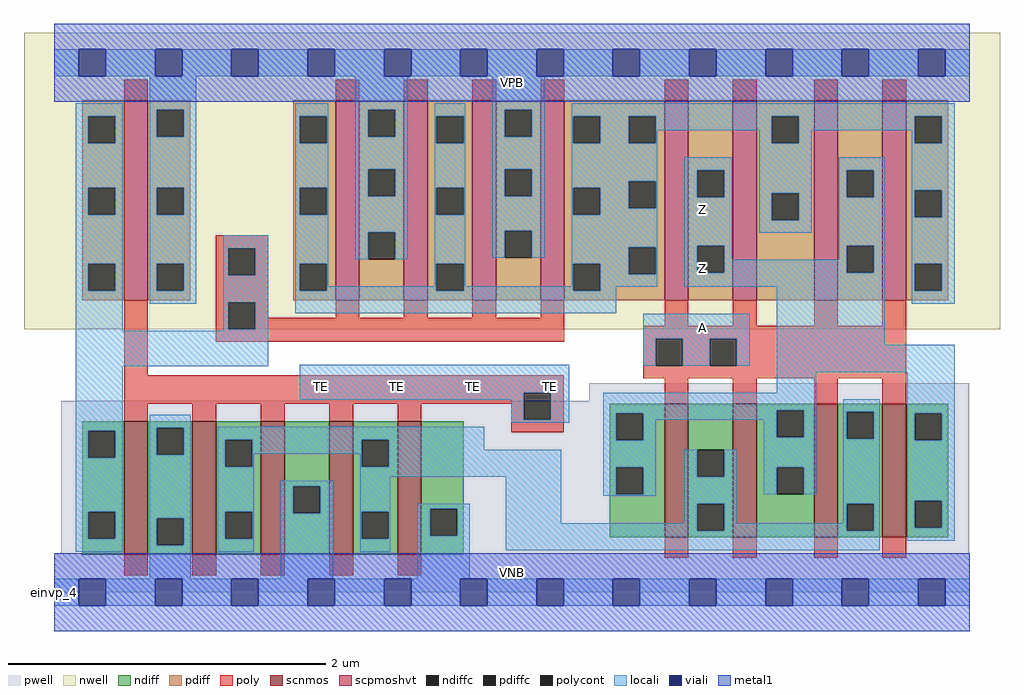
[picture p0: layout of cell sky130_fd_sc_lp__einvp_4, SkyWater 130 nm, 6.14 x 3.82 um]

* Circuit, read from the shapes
.subckt sky130_fd_sc_lp__einvp_4 A TE VGND VNB VPB VPWR Z
XM1 VGND TE n1 VNB sky130_fd_pr__nfet_01v8 w=0.84 l=0.15
XM2 n2 TE VGND VNB sky130_fd_pr__nfet_01v8 w=0.84 l=0.15 m=4
XM3 n2 A Z VNB sky130_fd_pr__nfet_01v8 w=0.84 l=0.15 m=4
XM4 VPWR TE n1 VPB sky130_fd_pr__pfet_01v8_hvt w=1.26 l=0.15
XM5 VPWR n1 n3 VPB sky130_fd_pr__pfet_01v8_hvt w=1.26 l=0.15 m=4
XM6 Z A n3 VPB sky130_fd_pr__pfet_01v8_hvt w=1.26 l=0.15 m=4
.ends

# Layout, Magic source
magic
tech sky130A
magscale 1 2
<< nwell >>
rect -38 331 1190 704
<< pwell >>
rect 673 241 1151 263
rect 9 49 1151 241
rect 0 0 1152 49
<< scnmos >>
rect 88 47 118 215
rect 174 47 204 215
rect 260 47 290 215
rect 346 47 376 215
rect 432 47 462 215
rect 768 69 798 237
rect 854 69 884 237
rect 956 69 986 237
rect 1042 69 1072 237
<< scpmoshvt >>
rect 88 367 118 619
rect 354 367 384 619
rect 440 367 470 619
rect 526 367 556 619
rect 612 367 642 619
rect 768 367 798 619
rect 854 367 884 619
rect 956 367 986 619
rect 1042 367 1072 619
<< ndiff >>
rect 35 203 88 215
rect 35 169 43 203
rect 77 169 88 203
rect 35 101 88 169
rect 35 67 43 101
rect 77 67 88 101
rect 35 47 88 67
rect 118 207 174 215
rect 118 173 129 207
rect 163 173 174 207
rect 118 93 174 173
rect 118 59 129 93
rect 163 59 174 93
rect 118 47 174 59
rect 204 192 260 215
rect 204 158 215 192
rect 249 158 260 192
rect 204 101 260 158
rect 204 67 215 101
rect 249 67 260 101
rect 204 47 260 67
rect 290 133 346 215
rect 290 99 301 133
rect 335 99 346 133
rect 290 47 346 99
rect 376 192 432 215
rect 376 158 387 192
rect 421 158 432 192
rect 376 101 432 158
rect 376 67 387 101
rect 421 67 432 101
rect 376 47 432 67
rect 462 105 515 215
rect 699 225 768 237
rect 462 71 473 105
rect 507 71 515 105
rect 462 47 515 71
rect 699 191 707 225
rect 741 191 768 225
rect 699 157 768 191
rect 699 123 707 157
rect 741 123 768 157
rect 699 69 768 123
rect 798 179 854 237
rect 798 145 809 179
rect 843 145 854 179
rect 798 111 854 145
rect 798 77 809 111
rect 843 77 854 111
rect 798 69 854 77
rect 884 229 956 237
rect 884 195 909 229
rect 943 195 956 229
rect 884 157 956 195
rect 884 123 909 157
rect 943 123 956 157
rect 884 69 956 123
rect 986 227 1042 237
rect 986 193 997 227
rect 1031 193 1042 227
rect 986 111 1042 193
rect 986 77 997 111
rect 1031 77 1042 111
rect 986 69 1042 77
rect 1072 225 1125 237
rect 1072 191 1083 225
rect 1117 191 1125 225
rect 1072 115 1125 191
rect 1072 81 1083 115
rect 1117 81 1125 115
rect 1072 69 1125 81
<< pdiff >>
rect 35 599 88 619
rect 35 565 43 599
rect 77 565 88 599
rect 35 509 88 565
rect 35 475 43 509
rect 77 475 88 509
rect 35 413 88 475
rect 35 379 43 413
rect 77 379 88 413
rect 35 367 88 379
rect 118 607 171 619
rect 118 573 129 607
rect 163 573 171 607
rect 118 509 171 573
rect 118 475 129 509
rect 163 475 171 509
rect 118 413 171 475
rect 301 599 354 619
rect 301 565 309 599
rect 343 565 354 599
rect 301 509 354 565
rect 301 475 309 509
rect 343 475 354 509
rect 118 379 129 413
rect 163 379 171 413
rect 118 367 171 379
rect 301 413 354 475
rect 301 379 309 413
rect 343 379 354 413
rect 301 367 354 379
rect 384 607 440 619
rect 384 573 395 607
rect 429 573 440 607
rect 384 532 440 573
rect 384 498 395 532
rect 429 498 440 532
rect 384 453 440 498
rect 384 419 395 453
rect 429 419 440 453
rect 384 367 440 419
rect 470 599 526 619
rect 470 565 481 599
rect 515 565 526 599
rect 470 509 526 565
rect 470 475 481 509
rect 515 475 526 509
rect 470 413 526 475
rect 470 379 481 413
rect 515 379 526 413
rect 470 367 526 379
rect 556 607 612 619
rect 556 573 567 607
rect 601 573 612 607
rect 556 532 612 573
rect 556 498 567 532
rect 601 498 612 532
rect 556 455 612 498
rect 556 421 567 455
rect 601 421 612 455
rect 556 367 612 421
rect 642 599 768 619
rect 642 565 653 599
rect 687 565 723 599
rect 757 565 768 599
rect 642 517 768 565
rect 642 509 723 517
rect 642 475 653 509
rect 687 483 723 509
rect 757 483 768 517
rect 687 475 768 483
rect 642 434 768 475
rect 642 413 723 434
rect 642 379 653 413
rect 687 400 723 413
rect 757 400 768 434
rect 687 379 768 400
rect 642 367 768 379
rect 798 531 854 619
rect 798 497 809 531
rect 843 497 854 531
rect 798 436 854 497
rect 798 402 809 436
rect 843 402 854 436
rect 798 367 854 402
rect 884 599 956 619
rect 884 565 903 599
rect 937 565 956 599
rect 884 502 956 565
rect 884 468 903 502
rect 937 468 956 502
rect 884 367 956 468
rect 986 531 1042 619
rect 986 497 997 531
rect 1031 497 1042 531
rect 986 436 1042 497
rect 986 402 997 436
rect 1031 402 1042 436
rect 986 367 1042 402
rect 1072 599 1125 619
rect 1072 565 1083 599
rect 1117 565 1125 599
rect 1072 506 1125 565
rect 1072 472 1083 506
rect 1117 472 1125 506
rect 1072 413 1125 472
rect 1072 379 1083 413
rect 1117 379 1125 413
rect 1072 367 1125 379
<< ndiffc >>
rect 43 169 77 203
rect 43 67 77 101
rect 129 173 163 207
rect 129 59 163 93
rect 215 158 249 192
rect 215 67 249 101
rect 301 99 335 133
rect 387 158 421 192
rect 387 67 421 101
rect 473 71 507 105
rect 707 191 741 225
rect 707 123 741 157
rect 809 145 843 179
rect 809 77 843 111
rect 909 195 943 229
rect 909 123 943 157
rect 997 193 1031 227
rect 997 77 1031 111
rect 1083 191 1117 225
rect 1083 81 1117 115
<< pdiffc >>
rect 43 565 77 599
rect 43 475 77 509
rect 43 379 77 413
rect 129 573 163 607
rect 129 475 163 509
rect 309 565 343 599
rect 309 475 343 509
rect 129 379 163 413
rect 309 379 343 413
rect 395 573 429 607
rect 395 498 429 532
rect 395 419 429 453
rect 481 565 515 599
rect 481 475 515 509
rect 481 379 515 413
rect 567 573 601 607
rect 567 498 601 532
rect 567 421 601 455
rect 653 565 687 599
rect 723 565 757 599
rect 653 475 687 509
rect 723 483 757 517
rect 653 379 687 413
rect 723 400 757 434
rect 809 497 843 531
rect 809 402 843 436
rect 903 565 937 599
rect 903 468 937 502
rect 997 497 1031 531
rect 997 402 1031 436
rect 1083 565 1117 599
rect 1083 472 1117 506
rect 1083 379 1117 413
<< poly >>
rect 88 619 118 645
rect 354 619 384 645
rect 440 619 470 645
rect 526 619 556 645
rect 612 619 642 645
rect 768 619 798 645
rect 854 619 884 645
rect 956 619 986 645
rect 1042 619 1072 645
rect 203 433 269 449
rect 203 399 219 433
rect 253 399 269 433
rect 88 273 118 367
rect 203 365 269 399
rect 203 331 219 365
rect 253 345 269 365
rect 354 345 384 367
rect 440 345 470 367
rect 526 345 556 367
rect 612 345 642 367
rect 253 331 642 345
rect 768 335 798 367
rect 854 335 884 367
rect 956 335 986 367
rect 1042 335 1072 367
rect 203 315 642 331
rect 741 319 1072 335
rect 741 285 757 319
rect 791 285 825 319
rect 859 285 1072 319
rect 88 251 641 273
rect 741 269 1072 285
rect 88 237 591 251
rect 88 215 118 237
rect 174 215 204 237
rect 260 215 290 237
rect 346 215 376 237
rect 432 215 462 237
rect 575 217 591 237
rect 625 217 641 251
rect 768 237 798 269
rect 854 237 884 269
rect 956 237 986 269
rect 1042 237 1072 269
rect 575 201 641 217
rect 88 21 118 47
rect 174 21 204 47
rect 260 21 290 47
rect 346 21 376 47
rect 432 21 462 47
rect 768 43 798 69
rect 854 43 884 69
rect 956 43 986 69
rect 1042 43 1072 69
<< polycont >>
rect 219 399 253 433
rect 219 331 253 365
rect 757 285 791 319
rect 825 285 859 319
rect 591 217 625 251
<< locali >>
rect 0 649 31 683
rect 65 649 127 683
rect 161 649 223 683
rect 257 649 319 683
rect 353 649 415 683
rect 449 649 511 683
rect 545 649 607 683
rect 641 649 703 683
rect 737 649 799 683
rect 833 649 895 683
rect 929 649 991 683
rect 1025 649 1087 683
rect 1121 649 1152 683
rect 27 599 86 615
rect 27 565 43 599
rect 77 565 86 599
rect 27 509 86 565
rect 27 475 43 509
rect 77 475 86 509
rect 27 413 86 475
rect 27 379 43 413
rect 77 379 86 413
rect 27 329 86 379
rect 120 607 179 649
rect 120 573 129 607
rect 163 573 179 607
rect 120 509 179 573
rect 120 475 129 509
rect 163 475 179 509
rect 120 413 179 475
rect 303 599 345 615
rect 303 565 309 599
rect 343 565 345 599
rect 303 509 345 565
rect 303 475 309 509
rect 343 475 345 509
rect 120 379 129 413
rect 163 379 179 413
rect 120 363 179 379
rect 213 433 269 449
rect 213 399 219 433
rect 253 399 269 433
rect 213 365 269 399
rect 213 331 219 365
rect 253 331 269 365
rect 303 413 345 475
rect 379 607 445 649
rect 379 573 395 607
rect 429 573 445 607
rect 379 532 445 573
rect 379 498 395 532
rect 429 498 445 532
rect 379 453 445 498
rect 379 419 395 453
rect 429 419 445 453
rect 479 599 517 615
rect 479 565 481 599
rect 515 565 517 599
rect 479 509 517 565
rect 479 475 481 509
rect 515 475 517 509
rect 303 379 309 413
rect 343 385 345 413
rect 479 413 517 475
rect 551 607 617 649
rect 551 573 567 607
rect 601 573 617 607
rect 551 532 617 573
rect 551 498 567 532
rect 601 498 617 532
rect 551 455 617 498
rect 551 421 567 455
rect 601 421 617 455
rect 651 599 1133 615
rect 651 565 653 599
rect 687 565 723 599
rect 757 581 903 599
rect 757 565 759 581
rect 651 517 759 565
rect 887 565 903 581
rect 937 581 1083 599
rect 937 565 953 581
rect 651 509 723 517
rect 651 475 653 509
rect 687 483 723 509
rect 757 483 759 517
rect 687 475 759 483
rect 651 434 759 475
rect 479 385 481 413
rect 343 379 481 385
rect 515 385 517 413
rect 651 413 723 434
rect 651 385 653 413
rect 515 379 653 385
rect 687 400 723 413
rect 757 400 759 434
rect 687 384 759 400
rect 793 531 853 547
rect 793 497 809 531
rect 843 497 853 531
rect 793 436 853 497
rect 887 502 953 565
rect 1079 565 1083 581
rect 1117 565 1133 599
rect 887 468 903 502
rect 937 468 953 502
rect 887 452 953 468
rect 987 531 1045 547
rect 987 497 997 531
rect 1031 497 1045 531
rect 793 402 809 436
rect 843 418 853 436
rect 987 436 1045 497
rect 987 418 997 436
rect 843 402 997 418
rect 1031 402 1045 436
rect 793 384 1045 402
rect 687 379 707 384
rect 303 351 707 379
rect 213 329 269 331
rect 27 284 269 329
rect 741 319 875 350
rect 27 203 86 284
rect 309 251 648 286
rect 741 285 757 319
rect 791 285 825 319
rect 859 285 875 319
rect 909 311 1045 384
rect 1079 506 1133 565
rect 1079 472 1083 506
rect 1117 472 1133 506
rect 1079 413 1133 472
rect 1079 379 1083 413
rect 1117 379 1133 413
rect 1079 363 1133 379
rect 909 277 1133 311
rect 909 251 959 277
rect 309 242 591 251
rect 27 169 43 203
rect 77 169 86 203
rect 27 101 86 169
rect 27 67 43 101
rect 77 67 86 101
rect 27 51 86 67
rect 120 207 172 223
rect 575 217 591 242
rect 625 217 648 251
rect 575 213 648 217
rect 691 229 959 251
rect 691 225 909 229
rect 120 173 129 207
rect 163 173 172 207
rect 120 93 172 173
rect 120 59 129 93
rect 163 59 172 93
rect 120 17 172 59
rect 206 192 541 208
rect 206 158 215 192
rect 249 174 387 192
rect 249 158 251 174
rect 206 101 251 158
rect 385 158 387 174
rect 421 179 541 192
rect 691 191 707 225
rect 741 217 909 225
rect 741 191 757 217
rect 421 158 638 179
rect 385 145 638 158
rect 206 67 215 101
rect 249 67 251 101
rect 206 51 251 67
rect 285 133 351 140
rect 285 99 301 133
rect 335 99 351 133
rect 285 17 351 99
rect 385 101 423 145
rect 385 67 387 101
rect 421 67 423 101
rect 385 51 423 67
rect 457 105 523 111
rect 457 71 473 105
rect 507 71 523 105
rect 457 17 523 71
rect 568 87 638 145
rect 691 157 757 191
rect 893 195 909 217
rect 943 195 959 229
rect 691 123 707 157
rect 741 123 757 157
rect 691 121 757 123
rect 793 145 809 179
rect 843 145 859 179
rect 793 111 859 145
rect 893 157 959 195
rect 893 123 909 157
rect 943 123 959 157
rect 993 227 1039 243
rect 993 193 997 227
rect 1031 193 1039 227
rect 793 87 809 111
rect 568 77 809 87
rect 843 87 859 111
rect 993 111 1039 193
rect 993 87 997 111
rect 843 77 997 87
rect 1031 77 1039 111
rect 568 53 1039 77
rect 1073 225 1133 277
rect 1073 191 1083 225
rect 1117 191 1133 225
rect 1073 115 1133 191
rect 1073 81 1083 115
rect 1117 81 1133 115
rect 1073 65 1133 81
rect 0 -17 31 17
rect 65 -17 127 17
rect 161 -17 223 17
rect 257 -17 319 17
rect 353 -17 415 17
rect 449 -17 511 17
rect 545 -17 607 17
rect 641 -17 703 17
rect 737 -17 799 17
rect 833 -17 895 17
rect 929 -17 991 17
rect 1025 -17 1087 17
rect 1121 -17 1152 17
<< viali >>
rect 31 649 65 683
rect 127 649 161 683
rect 223 649 257 683
rect 319 649 353 683
rect 415 649 449 683
rect 511 649 545 683
rect 607 649 641 683
rect 703 649 737 683
rect 799 649 833 683
rect 895 649 929 683
rect 991 649 1025 683
rect 1087 649 1121 683
rect 31 -17 65 17
rect 127 -17 161 17
rect 223 -17 257 17
rect 319 -17 353 17
rect 415 -17 449 17
rect 511 -17 545 17
rect 607 -17 641 17
rect 703 -17 737 17
rect 799 -17 833 17
rect 895 -17 929 17
rect 991 -17 1025 17
rect 1087 -17 1121 17
<< metal1 >>
rect 0 683 1152 715
rect 0 649 31 683
rect 65 649 127 683
rect 161 649 223 683
rect 257 649 319 683
rect 353 649 415 683
rect 449 649 511 683
rect 545 649 607 683
rect 641 649 703 683
rect 737 649 799 683
rect 833 649 895 683
rect 929 649 991 683
rect 1025 649 1087 683
rect 1121 649 1152 683
rect 0 617 1152 649
rect 0 17 1152 49
rect 0 -17 31 17
rect 65 -17 127 17
rect 161 -17 223 17
rect 257 -17 319 17
rect 353 -17 415 17
rect 449 -17 511 17
rect 545 -17 607 17
rect 641 -17 703 17
rect 737 -17 799 17
rect 833 -17 895 17
rect 929 -17 991 17
rect 1025 -17 1087 17
rect 1121 -17 1152 17
rect 0 -49 1152 -17
<< labels >>
flabel pwell s 0 0 1152 49 0 FreeSans 200 0 0 0 VNB
port 4 nsew ground bidirectional
flabel nwell s 0 617 1152 666 0 FreeSans 200 0 0 0 VPB
port 5 nsew power bidirectional
rlabel comment s 0 0 0 0 4 einvp_4
flabel metal1 s 0 617 1152 666 0 FreeSans 340 0 0 0 VPWR
port 6 nsew power bidirectional
flabel metal1 s 0 0 1152 49 0 FreeSans 340 0 0 0 VGND
port 3 nsew ground bidirectional
flabel locali s 799 390 833 424 0 FreeSans 340 0 0 0 Z
port 7 nsew signal output
flabel locali s 799 464 833 498 0 FreeSans 340 0 0 0 Z
port 7 nsew signal output
flabel locali s 799 316 833 350 0 FreeSans 340 0 0 0 A
port 1 nsew signal input
flabel locali s 319 242 353 276 0 FreeSans 340 0 0 0 TE
port 2 nsew signal input
flabel locali s 415 242 449 276 0 FreeSans 340 0 0 0 TE
port 2 nsew signal input
flabel locali s 511 242 545 276 0 FreeSans 340 0 0 0 TE
port 2 nsew signal input
flabel locali s 607 242 641 276 0 FreeSans 340 0 0 0 TE
port 2 nsew signal input
<< properties >>
string LEFsite unit
string LEFclass CORE
string FIXED_BBOX 0 0 1152 666
string GDS_FILE $PDKPATH/libs.ref/sky130_fd_sc_lp/gds/sky130_fd_sc_lp.gds
string LEFsymmetry X Y R90
string GDS_END 2841442
string GDS_START 2831826
<< end >>
